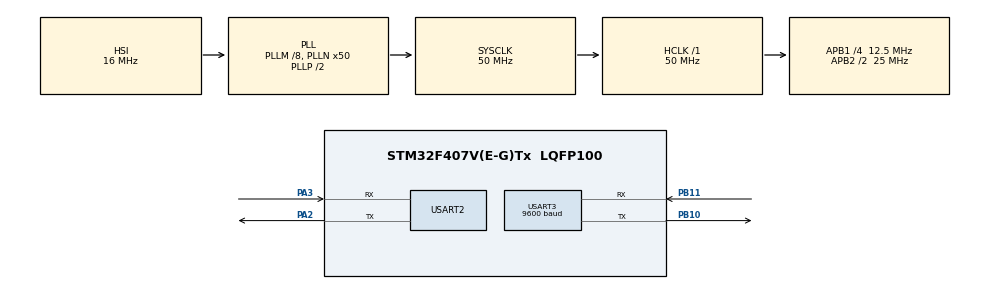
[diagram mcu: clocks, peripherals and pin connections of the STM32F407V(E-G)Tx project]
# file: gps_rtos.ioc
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FREERTOS.INCLUDE_vTaskDelayUntil=1
FREERTOS.Tasks01=defaultTask,-3,128,StartDefaultTask,Default,NULL,Dynamic,NULL,NULL
FREERTOS.configUSE_NEWLIB_REENTRANT=1
Mcu.Family=STM32F4
Mcu.Name=STM32F407V(E-G)Tx
Mcu.Package=LQFP100
NVIC.PriorityGroup=NVIC_PRIORITYGROUP_4
PA2.Mode=Asynchronous
PA2.Signal=USART2_TX
PA3.Mode=Asynchronous
PA3.Signal=USART2_RX
PB10.Mode=Asynchronous
PB10.Signal=USART3_TX
PB11.Mode=Asynchronous
PB11.Signal=USART3_RX
ProjectManager.HeapSize=0x200
ProjectManager.StackSize=0x400
ProjectManager.TargetToolchain=STM32CubeIDE
RCC.48MHZClocksFreq_Value=14285714.285714285
RCC.AHBFreq_Value=50000000
RCC.APB1CLKDivider=RCC_HCLK_DIV4
RCC.APB1Freq_Value=12500000
RCC.APB1TimFreq_Value=25000000
RCC.APB2CLKDivider=RCC_HCLK_DIV2
RCC.APB2Freq_Value=25000000
RCC.APB2TimFreq_Value=50000000
RCC.CortexFreq_Value=50000000
RCC.HCLKFreq_Value=50000000
RCC.HSE_VALUE=8000000
RCC.HSI_VALUE=16000000
RCC.LSE_VALUE=32768
RCC.PLLM=8
RCC.PLLN=50
RCC.PLLQ=7
RCC.SYSCLKFreq_VALUE=50000000
RCC.SYSCLKSource=RCC_SYSCLKSOURCE_PLLCLK
RCC.VCOOutputFreq_Value=100000000
USART2.VirtualMode=VM_ASYNC
USART3.BaudRate=9600
USART3.VirtualMode=VM_ASYNC
VP_FREERTOS_VS_CMSIS_V1.Mode=CMSIS_V1
board=STM32F407G-DISC1

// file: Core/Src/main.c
/* USER CODE BEGIN Header */
/**
  ******************************************************************************
  * @file           : main.c
  * @brief          : Main program body
  ******************************************************************************
  * @attention
  *
  * Copyright (c) 2026 STMicroelectronics.
  * All rights reserved.
  *
  * This software is licensed under terms that can be found in the LICENSE file
  * in the root directory of this software component.
  * If no LICENSE file comes with this software, it is provided AS-IS.
  *
  ******************************************************************************
  */
/* USER CODE END Header */
#include "main.h"
#include "cmsis_os.h"

/* USER CODE BEGIN Includes */
#include "queue.h"
#include<string.h>
#include<stdio.h>
#include<stdlib.h>
/* USER CODE END Includes */

UART_HandleTypeDef huart2;
UART_HandleTypeDef huart3;

osThreadId defaultTaskHandle;
/* USER CODE BEGIN PV */

QueueHandle_t gpsQueue;

/* USER CODE END PV */

void SystemClock_Config(void);
static void MX_GPIO_Init(void);
static void MX_USART2_UART_Init(void);
static void MX_USART3_UART_Init(void);
void StartDefaultTask(void const * argument);

/* USER CODE BEGIN 0 */

double NMEA_To_Decimal(char *nmea, char direction)
{
    double raw = atof(nmea);
    int degrees = (int)(raw / 100);
    double minutes = raw - (degrees * 100);

    double decimal = degrees + (minutes / 60.0);

    if (direction == 'S' || direction == 'W')
        decimal *= -1;

    return decimal;
}

void GPS_Parse_And_Print(char *nmea)
{
    if (strstr(nmea, "$GPGGA"))
    {
        char *token;
        int field = 0;

        char lat[15] = {0};
        char lon[15] = {0};
        char lat_dir = 0;
        char lon_dir = 0;

        token = strtok(nmea, ",");

        while (token != NULL)
        {
            field++;

            if (field == 3) strcpy(lat, token);   // Latitude
            if (field == 4) lat_dir = token[0];   // N/S
            if (field == 5) strcpy(lon, token);   // Longitude
            if (field == 6) lon_dir = token[0];   // E/W

            token = strtok(NULL, ",");
        }

        if (strlen(lat) > 0 && strlen(lon) > 0)
        {
            double latitude  = NMEA_To_Decimal(lat, lat_dir);
            double longitude = NMEA_To_Decimal(lon, lon_dir);

            char msg[100];

            int lat_i = (int)latitude;
            int lat_f = (int)((latitude - lat_i) * 1000000);

            int lon_i = (int)longitude;
            int lon_f = (int)((longitude - lon_i) * 1000000);

            sprintf(msg, "Lat: %d.%06d , Lon: %d.%06d\r\n",lat_i, lat_f, lon_i, lon_f);

            HAL_UART_Transmit(&huart2, (uint8_t *)msg, strlen(msg), 100);
        }
    }
}

void GPS_RX_Task(void *argument)
{
    uint8_t gps_byte;
    char gps_buffer[128];
    uint16_t gps_index = 0;

    for (;;)
    {
        HAL_UART_Receive(&huart3, &gps_byte, 1, HAL_MAX_DELAY);

        if (gps_byte == '\r')
            continue;

        if (gps_byte == '\n')
        {
            gps_buffer[gps_index] = '\0';
            xQueueSend(gpsQueue, gps_buffer, portMAX_DELAY);
            gps_index = 0;
        }
        else
        {
            if (gps_index < sizeof(gps_buffer) - 1)
                gps_buffer[gps_index++] = gps_byte;
        }
    }
}

void GPS_Parse_Task(void *argument)
{
    char nmea[128];

    for (;;)
    {
        if (xQueueReceive(gpsQueue, nmea, portMAX_DELAY) == pdPASS)
        {
            GPS_Parse_And_Print(nmea);
        }
    }
}
/* USER CODE END 0 */

int main(void)
{

  /* MCU Configuration--------------------------------------------------------*/

  /* Reset of all peripherals, Initializes the Flash interface and the Systick. */
  HAL_Init();

  /* Configure the system clock */
  SystemClock_Config();

  /* Initialize all configured peripherals */
  MX_GPIO_Init();
  MX_USART2_UART_Init();
  MX_USART3_UART_Init();

  /* USER CODE BEGIN RTOS_QUEUES */
  gpsQueue = xQueueCreate(5, 128);

  /* USER CODE END RTOS_QUEUES */

  /* Create the thread(s) */
  /* definition and creation of defaultTask */
  osThreadDef(defaultTask, StartDefaultTask, osPriorityIdle, 0, 128);
  defaultTaskHandle = osThreadCreate(osThread(defaultTask), NULL);

  /* USER CODE BEGIN RTOS_THREADS */
  xTaskCreate(GPS_RX_Task, "GPS_RX", 256, NULL, 2, NULL);
  xTaskCreate(GPS_Parse_Task, "GPS_PARSE", 512, NULL, 1, NULL);
  /* USER CODE END RTOS_THREADS */

  /* Start scheduler */
  osKernelStart();

  /* We should never get here as control is now taken by the scheduler */

  /* Infinite loop */
  while (1)
  {

  }
}

void SystemClock_Config(void)
{
  RCC_OscInitTypeDef RCC_OscInitStruct = {0};
  RCC_ClkInitTypeDef RCC_ClkInitStruct = {0};

  /** Configure the main internal regulator output voltage
  */
  __HAL_RCC_PWR_CLK_ENABLE();
  __HAL_PWR_VOLTAGESCALING_CONFIG(PWR_REGULATOR_VOLTAGE_SCALE1);

  /** Initializes the RCC Oscillators according to the specified parameters
  * in the RCC_OscInitTypeDef structure.
  */
  RCC_OscInitStruct.OscillatorType = RCC_OSCILLATORTYPE_HSI;
  RCC_OscInitStruct.HSIState = RCC_HSI_ON;
  RCC_OscInitStruct.HSICalibrationValue = RCC_HSICALIBRATION_DEFAULT;
  RCC_OscInitStruct.PLL.PLLState = RCC_PLL_ON;
  RCC_OscInitStruct.PLL.PLLSource = RCC_PLLSOURCE_HSI;
  RCC_OscInitStruct.PLL.PLLM = 8;
  RCC_OscInitStruct.PLL.PLLN = 50;
  RCC_OscInitStruct.PLL.PLLP = RCC_PLLP_DIV2;
  RCC_OscInitStruct.PLL.PLLQ = 7;
  if (HAL_RCC_OscConfig(&RCC_OscInitStruct) != HAL_OK)
  {
    Error_Handler();
  }

  /** Initializes the CPU, AHB and APB buses clocks
  */
  RCC_ClkInitStruct.ClockType = RCC_CLOCKTYPE_HCLK|RCC_CLOCKTYPE_SYSCLK
                              |RCC_CLOCKTYPE_PCLK1|RCC_CLOCKTYPE_PCLK2;
  RCC_ClkInitStruct.SYSCLKSource = RCC_SYSCLKSOURCE_PLLCLK;
  RCC_ClkInitStruct.AHBCLKDivider = RCC_SYSCLK_DIV1;
  RCC_ClkInitStruct.APB1CLKDivider = RCC_HCLK_DIV4;
  RCC_ClkInitStruct.APB2CLKDivider = RCC_HCLK_DIV2;

  if (HAL_RCC_ClockConfig(&RCC_ClkInitStruct, FLASH_LATENCY_1) != HAL_OK)
  {
    Error_Handler();
  }
}

static void MX_USART2_UART_Init(void)
{

  huart2.Instance = USART2;
  huart2.Init.BaudRate = 115200;
  huart2.Init.WordLength = UART_WORDLENGTH_8B;
  huart2.Init.StopBits = UART_STOPBITS_1;
  huart2.Init.Parity = UART_PARITY_NONE;
  huart2.Init.Mode = UART_MODE_TX_RX;
  huart2.Init.HwFlowCtl = UART_HWCONTROL_NONE;
  huart2.Init.OverSampling = UART_OVERSAMPLING_16;
  if (HAL_UART_Init(&huart2) != HAL_OK)
  {
    Error_Handler();
  }

}

static void MX_USART3_UART_Init(void)
{

  huart3.Instance = USART3;
  huart3.Init.BaudRate = 9600;
  huart3.Init.WordLength = UART_WORDLENGTH_8B;
  huart3.Init.StopBits = UART_STOPBITS_1;
  huart3.Init.Parity = UART_PARITY_NONE;
  huart3.Init.Mode = UART_MODE_TX_RX;
  huart3.Init.HwFlowCtl = UART_HWCONTROL_NONE;
  huart3.Init.OverSampling = UART_OVERSAMPLING_16;
  if (HAL_UART_Init(&huart3) != HAL_OK)
  {
    Error_Handler();
  }

}

static void MX_GPIO_Init(void)
{

  /* GPIO Ports Clock Enable */
  __HAL_RCC_GPIOA_CLK_ENABLE();
  __HAL_RCC_GPIOB_CLK_ENABLE();

}

void StartDefaultTask(void const * argument)
{
  for(;;)
  {
    osDelay(1);
  }
}

void Error_Handler(void)
{
  __disable_irq();
  while (1)
  {
  }
}
